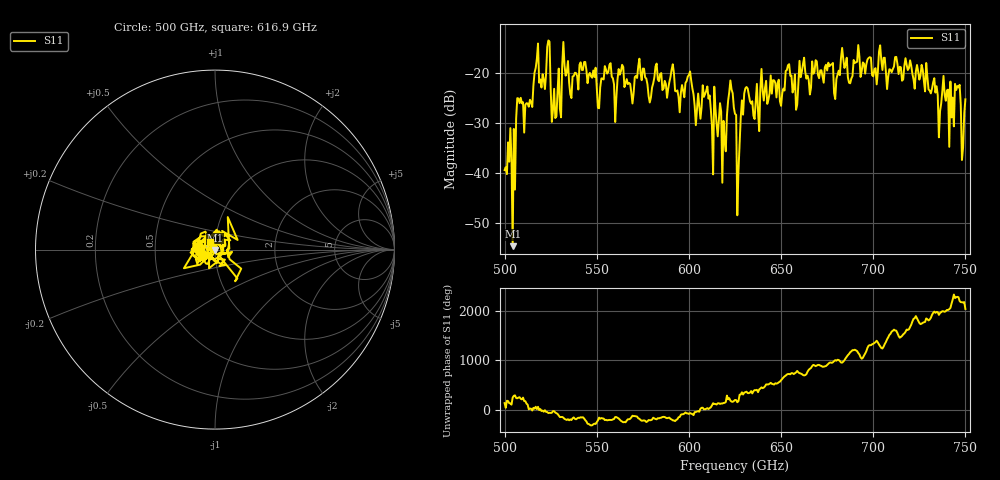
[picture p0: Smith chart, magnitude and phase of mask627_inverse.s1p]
!Created with skrf (http://scikit-rf.org).
# GHz S MA R 50.0
!freq magS11 angS11
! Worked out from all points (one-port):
!   401 points, 500 GHz to 750 GHz, reference 50 ohm
!   lowest |S11| = -54.7 dB at 504.4 GHz (marker M1), VSWR 1.00, Z = 49.9 - j0.177 ohm
!   |S11| at or under -10 dB: start of sweep to end of sweep
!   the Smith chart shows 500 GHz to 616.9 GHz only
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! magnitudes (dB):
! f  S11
! 500 GHz  -39.5
! 504.4 GHz  -54.7
! 507.5 GHz  -25.2
! 513.8 GHz  -25.4
! 516.9 GHz  -19.1
! 520.6 GHz  -20.4
! 523.8 GHz  -13.6
! 526.9 GHz  -23.2
! 531.2 GHz  -18.6
! 560 GHz  -29.9
! 562.5 GHz  -20.4
! 578.8 GHz  -26.0
! 590.6 GHz  -19.4
! 593.8 GHz  -23.6
! 608.8 GHz  -24.3
! 619.4 GHz  -33.9
! 622.5 GHz  -21.6
! 625 GHz  -28.2
! 627.5 GHz  -34.4
! 631.2 GHz  -22.9
! 636.9 GHz  -22.3
! 656.2 GHz  -24.0
! 680 GHz  -21.3
! 684.4 GHz  -19.1
! 687.5 GHz  -22.1
! 691.2 GHz  -17.8
! 718.8 GHz  -19.5
! 750 GHz  -25.3
